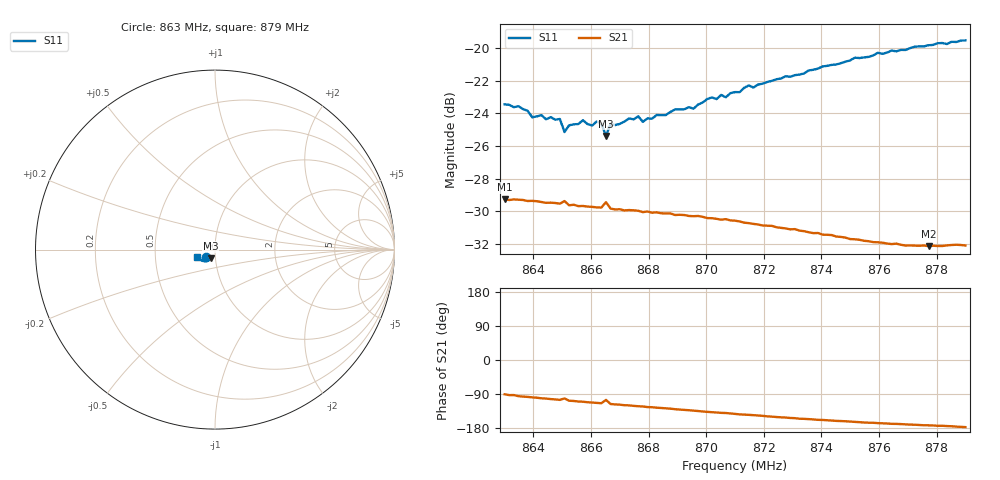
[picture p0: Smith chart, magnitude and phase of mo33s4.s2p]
# HZ S RI R 50
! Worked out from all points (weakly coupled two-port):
!   101 points, 863 MHz to 879 MHz, reference 50 ohm
!   highest |S21| = -29.28 dB at 863 MHz (marker M1); lowest = -32.2 dB at 877.72 MHz (marker M2)
!   lowest |S11| = -25.4 dB at 866.52 MHz (marker M3), VSWR 1.11, Z = 47.4 - j4.53 ohm
!   |S11| at or under -10 dB: start of sweep to end of sweep
!   S12 and S22 are empty: the file has one direction only
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8.63e8  -0.0516 -0.0431  -0.000302 -0.0344  0 0  0 0
8.6348e8  -0.0503 -0.0434  -0.00326 -0.0341  0 0  0 0
8.6396e8  -0.045 -0.0417  -0.00507 -0.0336  0 0  0 0
8.6492e8  -0.0425 -0.0433  -0.00878 -0.0321  0 0  0 0
8.6508e8  -0.035 -0.0428  -0.00671 -0.0333  0 0  0 0
8.6524e8  -0.0406 -0.0414  -0.0099 -0.0314  0 0  0 0
8.6572e8  -0.0399 -0.045  -0.0112 -0.0308  0 0  0 0
8.6604e8  -0.0379 -0.0438  -0.0123 -0.0301  0 0  0 0
8.662e8  -0.0391 -0.045  -0.0128 -0.0298  0 0  0 0
8.6636e8  -0.038 -0.0447  -0.0132 -0.0296  0 0  0 0
8.6652e8  -0.025 -0.0477  -0.00889 -0.0325  0 0  0 0
8.6668e8  -0.037 -0.0455  -0.0142 -0.0289  0 0  0 0
8.6764e8  -0.0367 -0.0498  -0.0168 -0.0269  0 0  0 0
8.678e8  -0.0348 -0.0482  -0.0169 -0.0264  0 0  0 0
8.6844e8  -0.0354 -0.0513  -0.0186 -0.025  0 0  0 0
8.6956e8  -0.0365 -0.0541  -0.0211 -0.022  0 0  0 0
8.7004e8  -0.039 -0.058  -0.0219 -0.0206  0 0  0 0
8.71e8  -0.0418 -0.0603  -0.0233 -0.0181  0 0  0 0
8.7372e8  -0.0567 -0.0645  -0.0249 -0.0107  0 0  0 0
8.7644e8  -0.0798 -0.0576  -0.0245 -0.00501  0 0  0 0
8.7772e8  -0.0887 -0.0508  -0.0244 -0.00326  0 0  0 0
8.79e8  -0.0978 -0.0402  -0.0247 -0.00125  0 0  0 0
